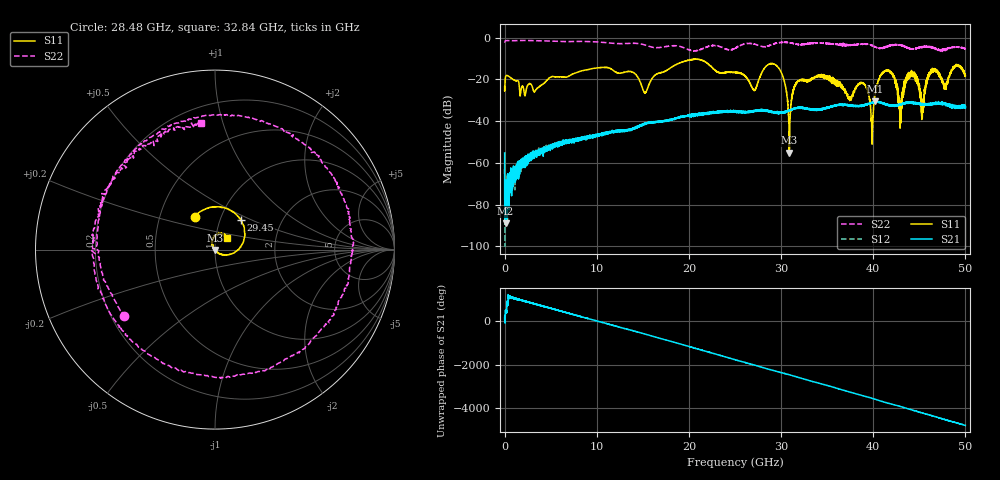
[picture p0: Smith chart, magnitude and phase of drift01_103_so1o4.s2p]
!Created with skrf (http://scikit-rf.org).
# Hz S RI R 50.0
!freq ReS11 ImS11 ReS21 ImS21 ReS12 ImS12 ReS22 ImS22
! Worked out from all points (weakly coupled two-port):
!   10001 points, 300 kHz to 50 GHz, reference 50 ohm
!   highest |S21| = -30.51 dB at 40.23 GHz (marker M1); lowest = -89.0 dB at 110.3 MHz (marker M2)
!   lowest |S11| = -55.1 dB at 30.89 GHz (marker M3), VSWR 1.00, Z = 50 - j0.175 ohm
!   |S11| at or under -10 dB: start of sweep to end of sweep
!   |S22| runs from -6.6 to -1.4 dB; largest |S21 - S12| = 0.0037
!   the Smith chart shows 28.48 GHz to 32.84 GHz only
!   S11 on the Smith chart (normalised r, x): 28.48 GHz: 0.75, +0.29; 29.45 GHz: 1.25, +0.43; 32.84 GHz: 1.13, +0.15
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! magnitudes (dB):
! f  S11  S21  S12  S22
! 300 kHz  -23.7  -55.2  -62.7  -2.0
! 110.3 MHz  -18.6  -89.0  -73.2  -1.5
! 8.335 GHz  -15.9  -48.0  -48.7  -1.8
! 15.23 GHz  -26.5  -41.3  -41.2  -3.5
! 16.67 GHz  -17.1  -40.2  -40.5  -4.8
! 25 GHz  -16.7  -35.2  -35.6  -5.1
! 27.1 GHz  -25.2  -35.2  -35.1  -3.1
! 28.48 GHz  -13.3  -35.0  -34.9  -4.0
! 29.45 GHz  -13.2  -35.9  -36.1  -2.7
! 30.89 GHz  -55.1  -34.8  -35.0  -2.5
! 31.61 GHz  -22.2  -33.7  -33.7  -3.1
! 32.84 GHz  -20.6  -34.1  -34.4  -3.0
! 33.34 GHz  -19.7  -34.3  -34.4  -2.7
! 38.92 GHz  -22.1  -32.5  -32.5  -3.0
! 39.85 GHz  -48.2  -31.2  -31.2  -3.7
! 40.23 GHz  -26.2  -30.5  -30.8  -4.5
! 41.67 GHz  -16.0  -32.4  -32.4  -4.2
! 42.93 GHz  -35.4  -32.0  -32.1  -3.7
! 43.97 GHz  -16.7  -31.3  -31.0  -5.4
! 45.31 GHz  -37.3  -31.9  -32.0  -4.4
! 46.43 GHz  -15.5  -31.5  -31.7  -4.7
! 50 GHz  -18.2  -33.6  -32.9  -5.3
